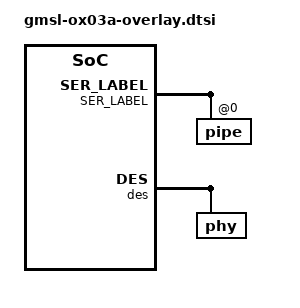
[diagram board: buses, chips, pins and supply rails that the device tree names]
// SPDX-License-Identifier: GPL-2.0
/*
 * Copyright (C) 2023 Analog Devices Inc.
 */

#if defined(DES_CH_INDEX)
#define DES_CH_SECOND_INDEX CONCAT(1, DES_CH_INDEX)
#endif

#if defined(SER_INDEX)
#define SER_LABEL CONCAT(ser_, SER_INDEX)
#endif

#if !defined(SER_LABEL)
#error
#endif

#define SER_MFP0_PWDN_LABEL CONCAT(SER_LABEL, _mfp0_pwdn)
#define SER_MFP7_FSYNC_LABEL CONCAT(SER_LABEL, _mfp7_fsync)
// #define SER_MFP10_RESET_LABEL CONCAT(SER_LABEL, _mfp10_reset)


&SER_LABEL {
	pipe@0 {
		maxim,dbl8;
		maxim,soft-bpp = <16>;
	};

	pins {


		SER_MFP0_PWDN_LABEL: SER_MFP0_PWDN_LABEL {
			pins = "mfp0";
			function = "gpio";
			output-high;
			output-enable;
		};



		// SER_MFP2_FSYNC_LABEL: SER_MFP2_FSYNC_LABEL {
		// 	pins = "mfp2";
		// 	function = "gpio";
		// 	output-high;
		// 	input-disable;
		// };

		SER_MFP7_FSYNC_LABEL: SER_MFP7_FSYNC_LABEL {
			pins = "mfp7";
			function = "gpio";
			output-high;
			input-disable;
		};


		// SER_MFP9_PWDN_LABEL: SER_MFP9_PWDN_LABEL {
		// 	pins = "mfp9";
		// 	function = "gpio";
		// 	output-high;
		// 	output-enable;
		// };

		// SER_MFP10_RESET_LABEL: SER_MFP10_RESET_LABEL {
		// 	pins = "mfp10";
		// 	function = "gpio";
		// 	output-high;
		// 	input-disable;
		// };


		// SER_MFP4_RCLK_LABEL: SER_MFP4_RCLK_LABEL {
		// 	pins = "mfp4";
		// 	function = "rclkout";
		// 	slew-rate = <0>;
		// 	maxim,rclkout-clock = <0>;
		// };
	};
};

&des {
	phy@GMSL_DES_PHY {
		maxim,alt-mem-map8;
	};
};

#undef SER_MFP9_PWDN_LABEL
#undef SER_MFP2_FSYNC_LABEL
#undef SER_MFP10_RESET_LABEL

#undef SER_INDEX
#undef SER_LABEL
#undef DES_CH_INDEX
